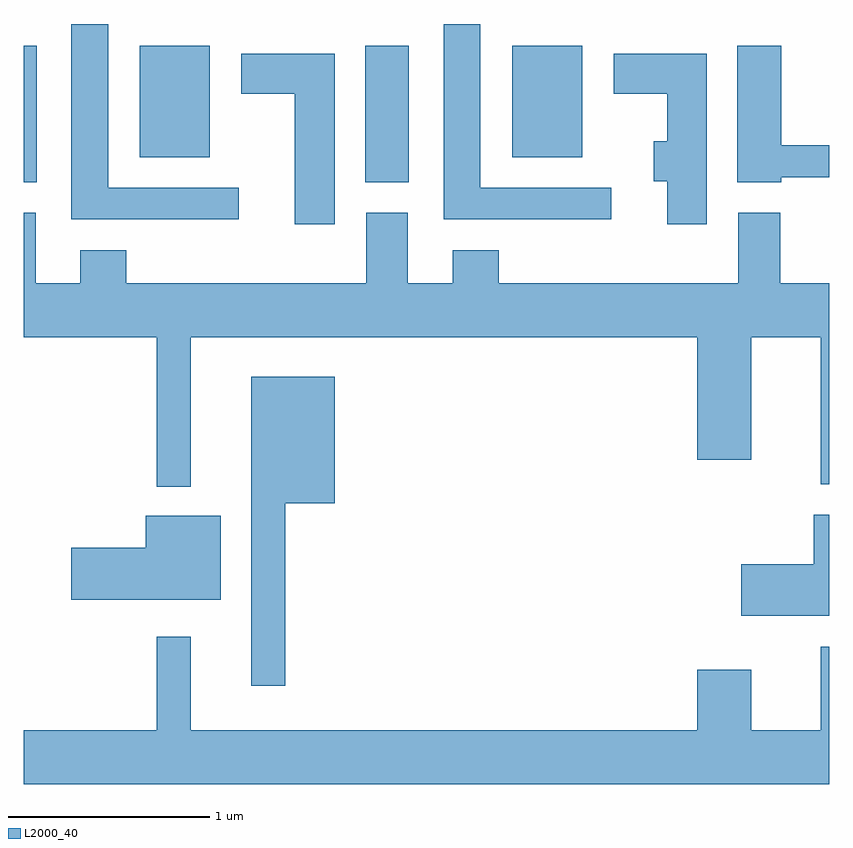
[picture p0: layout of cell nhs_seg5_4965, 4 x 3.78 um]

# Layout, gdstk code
import gdstk
lib = gdstk.Library(unit=1e-6, precision=1e-09)
def R(c, l, rs):  # rectangles x0, y0, x1, y1
    for r in rs: c.add(gdstk.rectangle(r[:2], r[2:], *l))
def P(c, l, *ps):  # polygons
    for p in ps: c.add(gdstk.Polygon(p, *l))
L2000_40 = (2000, 40)

nhs_seg5_4965 = lib.new_cell('nhs_seg5_4965')
R(nhs_seg5_4965, L2000_40, [(331.611,1515.286,331.674,1515.964), (333.306,1515.286,333.524,1515.964), (332.186,1515.411,332.534,1515.964), (334.036,1515.411,334.384,1515.964)])
P(nhs_seg5_4965, L2000_40, [(334.528,1515.259),(333.879,1515.259),(333.879,1516.072),(333.696,1516.072),(333.696,1515.101),(334.528,1515.101)],
  [(332.678,1515.259),(332.029,1515.259),(332.029,1516.072),(331.846,1516.072),(331.846,1515.101),(332.678,1515.101)],
  [(335.374,1515.311),(335.611,1515.311),(335.611,1515.469),(335.374,1515.469),(335.374,1515.964),(335.156,1515.964),(335.156,1515.286),(335.374,1515.286)],
  [(335.004,1515.924),(334.541,1515.924),(334.541,1515.726),(334.806,1515.726),(334.806,1515.489),(334.741,1515.489),(334.741,1515.291),(334.806,1515.291),(334.806,1515.076),(335.004,1515.076)],
  [(333.154,1515.924),(332.691,1515.924),(332.691,1515.726),(332.956,1515.726),(332.956,1515.076),(333.154,1515.076)],
  [(332.439,1514.516),(334.956,1514.516),(334.956,1513.906),(335.224,1513.906),(335.224,1514.516),(335.571,1514.516),(335.571,1513.786),(335.611,1513.786),(335.611,1514.784),(335.369,1514.784),(335.369,1515.134),(335.161,1515.134),(335.161,1514.784),(333.969,1514.784),(333.969,1514.949),(333.741,1514.949),(333.741,1514.784),(333.519,1514.784),(333.519,1515.134),(333.311,1515.134),(333.311,1514.784),(332.119,1514.784),(332.119,1514.949),(331.891,1514.949),(331.891,1514.784),(331.669,1514.784),(331.669,1515.134),(331.611,1515.134),(331.611,1514.516),(332.271,1514.516),(332.271,1513.773),(332.439,1513.773)],
  [(332.909,1513.691),(333.154,1513.691),(333.154,1514.319),(332.741,1514.319),(332.741,1512.783),(332.909,1512.783)],
  [(335.611,1513.634),(335.536,1513.634),(335.536,1513.389),(335.176,1513.389),(335.176,1513.131),(335.611,1513.131)],
  [(332.589,1513.629),(332.216,1513.629),(332.216,1513.469),(331.846,1513.469),(331.846,1513.211),(332.589,1513.211)],
  [(335.611,1512.979),(335.571,1512.979),(335.571,1512.564),(335.224,1512.564),(335.224,1512.864),(334.956,1512.864),(334.956,1512.564),(332.439,1512.564),(332.439,1513.028),(332.271,1513.028),(332.271,1512.564),(331.611,1512.564),(331.611,1512.296),(335.611,1512.296)])

lib.write_gds('nhs_seg5_4965.gds')
